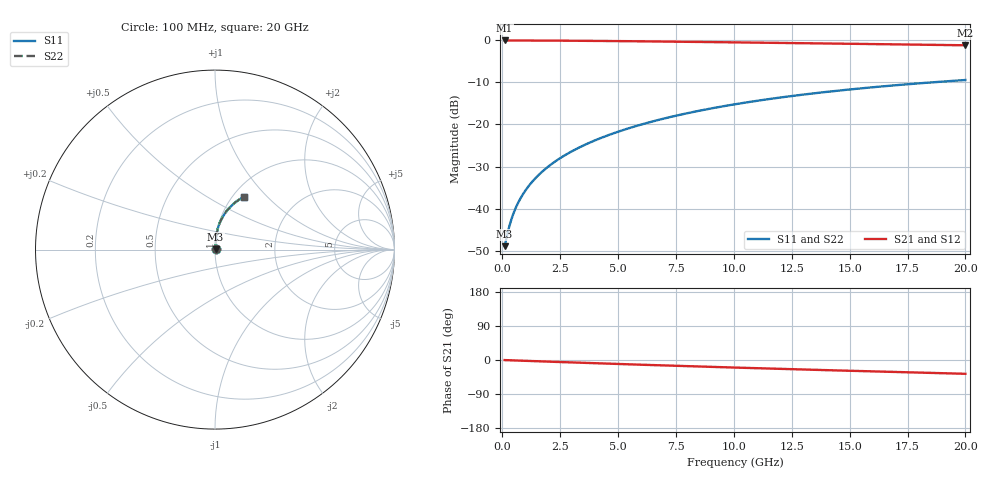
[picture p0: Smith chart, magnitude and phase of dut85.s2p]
! Touchstone file exported from HFSS 2024.1.0
!  File:  C:/UserFiles/LocalFiles/RDL_TSV_Batchsim/temp_RDL_bottom_85_1778694485.aedt
!  Generated:  01:51:22 AM May 14, 2026
!  Design:  RDL_bottom
!  Project:  temp_RDL_bottom_85_1778694485
!  Setup:  Setup1
!  Solution:  Sweep
! Variables:
!  dtsv = 10.80580581um
!  hbump = 3um
!  htsv = 99.83um
!  ldown = 494.12um
!  lrdl = 100um
!  p = 40
!  p1 = 51.16um
!  rhole = 1um
!  t = 450um
!  tdown = 2.62um
!  trdl = 3.915915916um
!  wdown = 23.58um
!  wrdl = 20um
# GHz S MA R 50.000000
! Terminal data exported
! Port[1] = RDL1_T1
! Port[2] = RDL1_T2
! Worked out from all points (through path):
!   200 points, 100 MHz to 20 GHz, reference 50 ohm
!   highest |S21| = -0.03 dB at 100 MHz (marker M1); lowest = -1.2 dB at 20 GHz (marker M2)
!   group delay of S21, straight-line fit = 5.02 ps
!   lowest |S11| = -48.9 dB at 100 MHz (marker M3), VSWR 1.01, Z = 50.3 + j0.176 ohm
!   |S11| at or under -10 dB: start of sweep to 18.53 GHz
!   |S22| runs from -48.9 to -9.4 dB; largest |S21 - S12| = 2.6e-15
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0.1  0.003575 29.3  0.9969 -0.2  0.9969 -0.2  0.003575 29.3
! Gamma 0 0 0 0
! Port Impedance 50 0 50 0
0.3  0.006111 56.7  0.9966 -0.7  0.9966 -0.7  0.006111 56.7
0.4  0.007561 62.5  0.9964 -0.9  0.9964 -0.9  0.007561 62.5
0.5  0.009025 66.4  0.9962 -1.1  0.9962 -1.1  0.009024 66.4
0.6  0.01049 69.3  0.996 -1.3  0.996 -1.3  0.01049 69.3
0.8  0.01344 73.3  0.9957 -1.8  0.9957 -1.8  0.01344 73.3
1.1  0.01793 77.1  0.9951 -2.4  0.9951 -2.4  0.01793 77.1
1.3  0.02097 78.8  0.9947 -2.8  0.9947 -2.8  0.02097 78.8
1.6  0.02558 80.6  0.9941 -3.5  0.9941 -3.5  0.02558 80.6
2.1  0.03341 82.5  0.9927 -4.5  0.9927 -4.5  0.03341 82.5
2.7  0.04303 83.7  0.9907 -5.8  0.9907 -5.8  0.04303 83.8
3.5  0.05622 84.5  0.9874 -7.4  0.9874 -7.4  0.05622 84.5
4.2  0.06808 84.6  0.984 -8.9  0.984 -8.9  0.06809 84.6
5  0.08199 84.3  0.9797 -10.5  0.9797 -10.5  0.082 84.4
5.9  0.09799 83.7  0.9744 -12.3  0.9744 -12.3  0.09802 83.7
6.8  0.1143 82.7  0.9687 -14.0  0.9687 -14.0  0.1143 82.8
8.4  0.1436 80.6  0.958 -17.0  0.958 -17.0  0.1437 80.6
10.1  0.1748 77.9  0.946 -20.1  0.946 -20.1  0.1749 77.9
11.7  0.2037 75.2  0.9346 -22.9  0.9346 -22.9  0.2038 75.2
13.4  0.2335 72.2  0.9222 -25.8  0.9222 -25.8  0.2337 72.3
16.7  0.2882 66.5  0.8979 -31.2  0.8979 -31.2  0.2884 66.6
20  0.3377 61.0  0.8736 -36.4  0.8736 -36.4  0.3379 61.1
